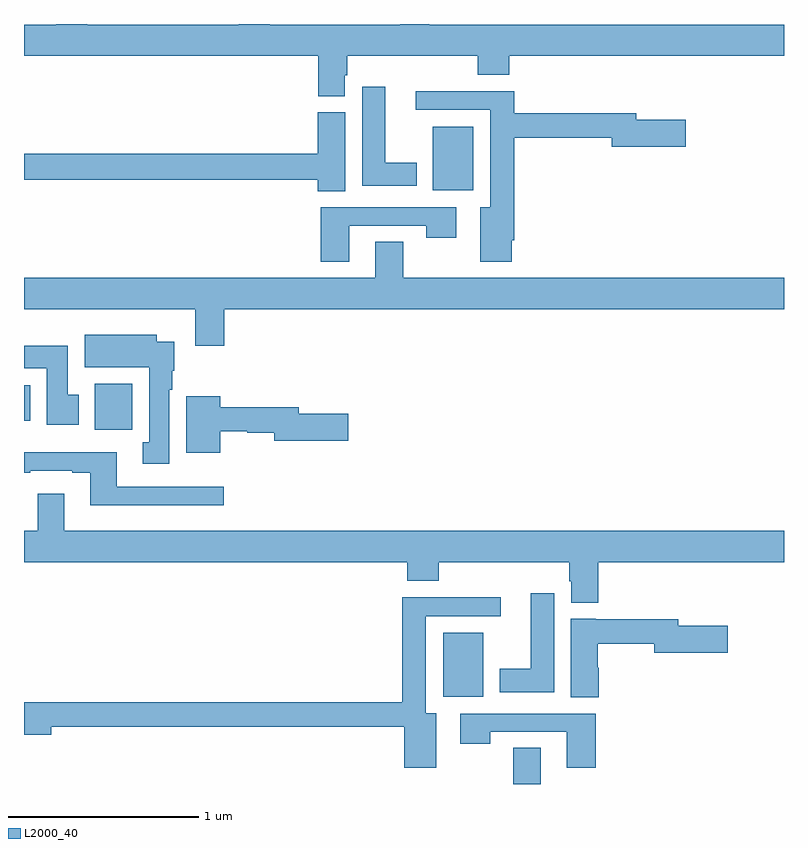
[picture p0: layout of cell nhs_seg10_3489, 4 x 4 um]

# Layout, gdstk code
import gdstk
lib = gdstk.Library(unit=1e-6, precision=1e-09)
def R(c, l, rs):  # rectangles x0, y0, x1, y1
    for r in rs: c.add(gdstk.rectangle(r[:2], r[2:], *l))
def P(c, l, *ps):  # polygons
    for p in ps: c.add(gdstk.Polygon(p, *l))
L2000_40 = (2000, 40)

nhs_seg10_3489 = lib.new_cell('nhs_seg10_3489')
R(nhs_seg10_3489, L2000_40, [(303.574,1280.5,303.721,1280.69), (303.206,1280.96,303.418,1281.295), (301.373,1282.364,301.57,1282.606), (301,1282.412,301.033,1282.6), (303.152,1283.624,303.364,1283.959)])
P(nhs_seg10_3489, L2000_40, [(302.689,1284.231),(302.702,1284.231),(302.702,1284.332),(303.389,1284.332),(303.389,1284.233),(303.554,1284.233),(303.554,1284.332),(305,1284.332),(305,1284.496),(303.134,1284.496),(303.134,1284.5),(302.981,1284.5),(302.981,1284.496),(302.294,1284.496),(302.294,1284.5),(302.129,1284.5),(302.129,1284.496),(301.334,1284.496),(301.334,1284.5),(301.169,1284.5),(301.169,1284.496),(301,1284.496),(301,1284.332),(302.549,1284.332),(302.549,1284.121),(302.689,1284.121)],
  [(303.067,1283.77),(302.902,1283.77),(302.902,1284.169),(302.78,1284.169),(302.78,1283.648),(303.067,1283.648)],
  [(303.568,1283.362),(303.581,1283.362),(303.581,1283.902),(304.094,1283.902),(304.094,1283.855),(304.483,1283.855),(304.483,1283.997),(304.222,1283.997),(304.222,1284.031),(303.581,1284.031),(303.581,1284.146),(303.063,1284.146),(303.063,1284.048),(303.455,1284.048),(303.455,1283.536),(303.401,1283.536),(303.401,1283.25),(303.568,1283.25)],
  [(302.692,1284.036),(302.546,1284.036),(302.546,1283.816),(301,1283.816),(301,1283.68),(302.546,1283.68),(302.546,1283.62),(302.692,1283.62)],
  [(302.713,1283.439),(303.118,1283.439),(303.118,1283.376),(303.274,1283.376),(303.274,1283.535),(302.561,1283.535),(302.561,1283.25),(302.713,1283.25)],
  [(302.054,1283),(305,1283),(305,1283.164),(302.997,1283.164),(302.997,1283.354),(302.849,1283.354),(302.849,1283.164),(301,1283.164),(301,1283),(301.901,1283),(301.901,1282.806),(302.054,1282.806)],
  [(301.765,1282.574),(301.78,1282.574),(301.78,1282.674),(301.792,1282.674),(301.792,1282.828),(301.699,1282.828),(301.699,1282.864),(301.319,1282.864),(301.319,1282.694),(301.658,1282.694),(301.658,1282.298),(301.625,1282.298),(301.625,1282.185),(301.765,1282.185)],
  [(301.288,1282.548),(301.231,1282.548),(301.231,1282.806),(301,1282.806),(301,1282.688),(301.121,1282.688),(301.121,1282.392),(301.288,1282.392)],
  [(302.032,1282.356),(302.175,1282.356),(302.175,1282.348),(302.318,1282.348),(302.318,1282.306),(302.707,1282.306),(302.707,1282.448),(302.446,1282.448),(302.446,1282.484),(302.032,1282.484),(302.032,1282.54),(301.853,1282.54),(301.853,1282.244),(302.032,1282.244)],
  [(302.05,1282.065),(301.489,1282.065),(301.489,1282.246),(301,1282.246),(301,1282.137),(301.033,1282.137),(301.033,1282.149),(301.253,1282.149),(301.253,1282.137),(301.349,1282.137),(301.349,1281.968),(302.05,1281.968)],
  [(304.022,1281.668),(305,1281.668),(305,1281.832),(301.213,1281.832),(301.213,1282.027),(301.073,1282.027),(301.073,1281.832),(301,1281.832),(301,1281.668),(303.017,1281.668),(303.017,1281.569),(303.182,1281.569),(303.182,1281.668),(303.869,1281.668),(303.869,1281.567),(303.881,1281.567),(303.881,1281.455),(304.022,1281.455)],
  [(303.79,1281.505),(303.668,1281.505),(303.668,1281.106),(303.503,1281.106),(303.503,1280.984),(303.79,1280.984)],
  [(303.169,1280.872),(303.115,1280.872),(303.115,1281.384),(303.508,1281.384),(303.508,1281.482),(302.99,1281.482),(302.99,1280.93),(301,1280.93),(301,1280.759),(301.144,1280.759),(301.144,1280.802),(303.002,1280.802),(303.002,1280.586),(303.169,1280.586)],
  [(304.025,1281.113),(304.02,1281.113),(304.02,1281.238),(304.316,1281.238),(304.316,1281.191),(304.705,1281.191),(304.705,1281.333),(304.444,1281.333),(304.444,1281.367),(304.008,1281.367),(304.008,1281.37),(303.878,1281.37),(303.878,1280.956),(304.025,1280.956)],
  [(304.01,1280.871),(303.297,1280.871),(303.297,1280.712),(303.453,1280.712),(303.453,1280.775),(303.857,1280.775),(303.857,1280.586),(304.01,1280.586)])

lib.write_gds('nhs_seg10_3489.gds')
